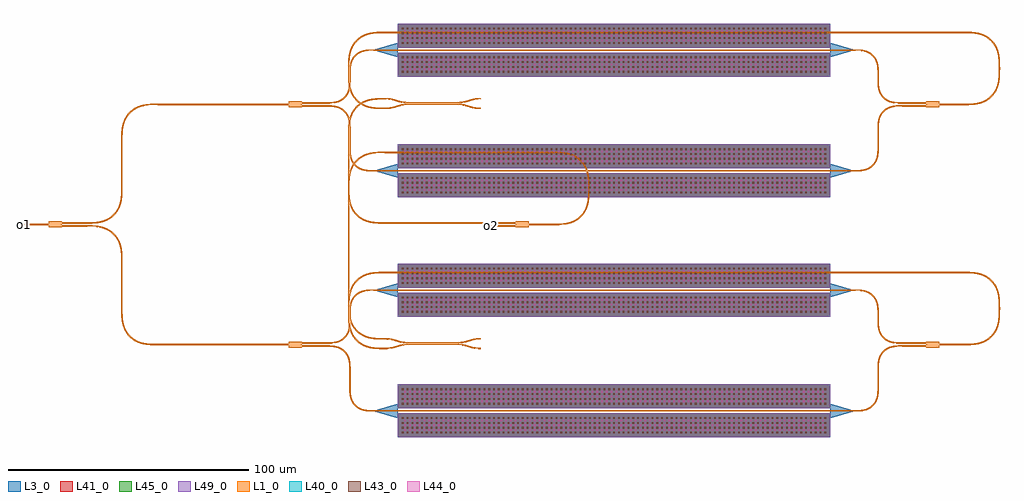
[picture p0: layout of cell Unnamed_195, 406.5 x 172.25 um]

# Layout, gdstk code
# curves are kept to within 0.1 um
from math import pi, radians
import gdstk
lib = gdstk.Library(unit=1e-6, precision=1e-09)
def R(c, l, rs):  # rectangles x0, y0, x1, y1
    for r in rs: c.add(gdstk.rectangle(r[:2], r[2:], *l))
def P(c, l, *ps):  # polygons
    for p in ps: c.add(gdstk.Polygon(p, *l))
L1_0 = (1, 0)
L3_0 = (3, 0)
L40_0 = (40, 0)
L41_0 = (41, 0)
L43_0 = (43, 0)
L44_0 = (44, 0)
L45_0 = (45, 0)
L49_0 = (49, 0)

mmi1x2_wnone_wt1_lt10_l_ = lib.new_cell('mmi1x2_WNone_WT1_LT10_L_4e0f7121')
P(mmi1x2_wnone_wt1_lt10_l_, L1_0, [(0,-1.25),(0,-0.5),(-10,-0.25),(-10,0.25),(0,0.5),(0,1.25),(5.5,1.25),(5.5,1.125),(15.5,0.875),(15.5,0.375),(5.5,0.125),(5.5,-0.125),(15.5,-0.375),(15.5,-0.875),(5.5,-1.125),(5.5,-1.25)])

bend_euler_rnone_a90_p0_ = lib.new_cell('bend_euler_RNone_A90_P0_d7c3a5a9')
P(bend_euler_rnone_a90_p0_, L1_0, [(0,-0.25),(0,0.25),(2.881,0.353),(3.952,0.52),(4.99,0.806),(6.431,1.505),(7.575,2.425),(8.495,3.569),(9.194,5.01),(9.48,6.048),(9.647,7.119),(9.75,10),(10.25,10),(10.158,7.205),(9.797,5.254),(9.457,4.312),(9.066,3.545),(8.5,2.715),(7.928,2.072),(7.285,1.5),(6.455,0.934),(5.688,0.543),(4.746,0.203),(2.795,-0.158)])

straight_l2_n2_csstrip_w = lib.new_cell('straight_L2_N2_CSstrip_WNone')
R(straight_l2_n2_csstrip_w, L1_0, [(0,-0.25,2,0.25)])

straight_l7_n2_csstrip_w = lib.new_cell('straight_L7_N2_CSstrip_WNone')
R(straight_l7_n2_csstrip_w, L1_0, [(0,-0.25,7,0.25)])

straight_l180_n2_csstrip = lib.new_cell('straight_L180_N2_CSstrip_WNone')
R(straight_l180_n2_csstrip, L1_0, [(0,-0.25,180,0.25)])

taper_strip_to_ridge_l1_ = lib.new_cell('taper_strip_to_ridge_L1_3a86af41')
R(taper_strip_to_ridge_l1_, L1_0, [(0,-0.25,10,0.25)])
P(taper_strip_to_ridge_l1_, L3_0, [(10,-3),(0,-0.075),(0,0.075),(10,3)])

compass_s180_10_lslab90_ = lib.new_cell('compass_S180_10_LSLAB90_05ffcaa3')
R(compass_s180_10_lslab90_, L3_0, [(-90,-5,90,5)])

compass_s180_10_lm1_ptn_ = lib.new_cell('compass_S180_10_LM1_PTN_a9660620')
R(compass_s180_10_lm1_ptn_, L41_0, [(-90,-5,90,5)])

compass_s180_10_lm2_ptn_ = lib.new_cell('compass_S180_10_LM2_PTN_655a0ab1')
R(compass_s180_10_lm2_ptn_, L45_0, [(-90,-5,90,5)])

compass_s180_10_lmtop_p_ = lib.new_cell('compass_S180_10_LMTOP_P_11bbb343')
R(compass_s180_10_lmtop_p_, L49_0, [(-90,-5,90,5)])

via_s0p7_0p7_snone_gnon_ = lib.new_cell('via_S0p7_0p7_SNone_GNon_9f66867f')
R(via_s0p7_0p7_snone_gnon_, L40_0, [(-0.35,-0.35,0.35,0.35)])

c_via_s0p7_0p7_snone_gnon_ = lib.new_cell('via_S0p7_0p7_SNone_GNon_d0c93b95')
R(c_via_s0p7_0p7_snone_gnon_, L44_0, [(-0.35,-0.35,0.35,0.35)])

c_via_s0p7_0p7_snone_gnon__ = lib.new_cell('via_S0p7_0p7_SNone_GNon_a794b952')
R(c_via_s0p7_0p7_snone_gnon__, L43_0, [(-0.35,-0.35,0.35,0.35)])

via_stack_s180_10_lslab_ = lib.new_cell('via_stack_S180_10_LSLAB_6f7f59c7')
via_stack_s180_10_lslab_.add(gdstk.Reference(compass_s180_10_lslab90_, (0,0)))
via_stack_s180_10_lslab_.add(gdstk.Reference(compass_s180_10_lm1_ptn_, (0,0)))
via_stack_s180_10_lslab_.add(gdstk.Reference(compass_s180_10_lm2_ptn_, (0,0)))
via_stack_s180_10_lslab_.add(gdstk.Reference(compass_s180_10_lmtop_p_, (0,0)))
r = gdstk.Reference(via_s0p7_0p7_snone_gnon_, (-88,-3)); r.repetition = gdstk.Repetition(89, 4, v1=(2,0), v2=(0,2)); via_stack_s180_10_lslab_.add(r)
r = gdstk.Reference(c_via_s0p7_0p7_snone_gnon_, (-87,-2)); r.repetition = gdstk.Repetition(88, 3, v1=(2,0), v2=(0,2)); via_stack_s180_10_lslab_.add(r)
r = gdstk.Reference(c_via_s0p7_0p7_snone_gnon__, (-88,-3)); r.repetition = gdstk.Repetition(89, 4, v1=(2,0), v2=(0,2)); via_stack_s180_10_lslab_.add(r)

straight_pin_l200_csstr_ = lib.new_cell('straight_pin_L200_CSstr_ff9b3a61')
straight_pin_l200_csstr_.add(gdstk.Reference(straight_l180_n2_csstrip, (0,0)))
straight_pin_l200_csstr_.add(gdstk.Reference(taper_strip_to_ridge_l1_, (-10,0)))
straight_pin_l200_csstr_.add(gdstk.Reference(taper_strip_to_ridge_l1_, (190,0), rotation=pi))
straight_pin_l200_csstr_.add(gdstk.Reference(via_stack_s180_10_lslab_, (90,6)))
straight_pin_l200_csstr_.add(gdstk.Reference(via_stack_s180_10_lslab_, (90,-6)))

mzi_dl10_ly2_lx200_bben_ = lib.new_cell('mzi_DL10_LY2_LX200_Bben_ff43f7ce')
mzi_dl10_ly2_lx200_bben_.add(gdstk.Reference(mmi1x2_wnone_wt1_lt10_l_, (0,0)))
mzi_dl10_ly2_lx200_bben_.add(gdstk.Reference(bend_euler_rnone_a90_p0_, (15.5,-0.625), x_reflection=True))
mzi_dl10_ly2_lx200_bben_.add(gdstk.Reference(bend_euler_rnone_a90_p0_, (25.5,-17.625), rotation=3*pi/2))
mzi_dl10_ly2_lx200_bben_.add(gdstk.Reference(bend_euler_rnone_a90_p0_, (15.5,0.625)))
mzi_dl10_ly2_lx200_bben_.add(gdstk.Reference(bend_euler_rnone_a90_p0_, (35.5,22.625), rotation=pi))
mzi_dl10_ly2_lx200_bben_.add(gdstk.Reference(bend_euler_rnone_a90_p0_, (245.5,12.625), rotation=pi/2))
mzi_dl10_ly2_lx200_bben_.add(gdstk.Reference(bend_euler_rnone_a90_p0_, (245.5,10.625), rotation=3*pi/2))
mzi_dl10_ly2_lx200_bben_.add(gdstk.Reference(bend_euler_rnone_a90_p0_, (235.5,-27.625)))
mzi_dl10_ly2_lx200_bben_.add(gdstk.Reference(bend_euler_rnone_a90_p0_, (255.5,-0.625), rotation=pi))
mzi_dl10_ly2_lx200_bben_.add(gdstk.Reference(straight_l2_n2_csstrip_w, (25.5,10.625), rotation=pi/2))
mzi_dl10_ly2_lx200_bben_.add(gdstk.Reference(straight_l7_n2_csstrip_w, (25.5,-10.625), rotation=3*pi/2))
mzi_dl10_ly2_lx200_bben_.add(gdstk.Reference(straight_pin_l200_csstr_, (45.5,22.625)))
mzi_dl10_ly2_lx200_bben_.add(gdstk.Reference(straight_pin_l200_csstr_, (45.5,-27.625)))
mzi_dl10_ly2_lx200_bben_.add(gdstk.Reference(mmi1x2_wnone_wt1_lt10_l_, (271,0), rotation=pi, x_reflection=True))
mzi_dl10_ly2_lx200_bben_.add(gdstk.Reference(straight_l2_n2_csstrip_w, (245.5,10.625), rotation=pi/2))
mzi_dl10_ly2_lx200_bben_.add(gdstk.Reference(straight_l7_n2_csstrip_w, (245.5,-17.625), rotation=pi/2))

coupler_g0p236_l20_d4_d_ = lib.new_cell('coupler_G0p236_L20_D4_D_b138340a')
P(coupler_g0p236_l20_d4_d_, L1_0, [(-10,-1.882),(-10,-1.382),(-8.633,-1.335),(-7.417,-1.193),(-6.249,-0.938),(-3.065,-0.019),(-1.652,0.182),(-0.303,0.248),(21.144,0.219),(23.349,-0.08),(27.222,-1.159),(28.511,-1.326),(30,-1.382),(30,-1.882),(27.877,-1.764),(26.291,-1.466),(23.059,-0.528),(20.854,-0.267),(-0.297,-0.252),(-1.725,-0.327),(-3.059,-0.528),(-6.034,-1.397),(-7.335,-1.686),(-8.597,-1.834)],
  [(0,0.486),(-1.403,0.534),(-2.665,0.682),(-3.796,0.925),(-7.126,1.877),(-8.511,2.062),(-10,2.118),(-10,2.618),(-8.597,2.57),(-7.335,2.422),(-6.204,2.179),(-2.874,1.227),(-1.489,1.042),(0,0.986),(21.116,1.016),(23.24,1.303),(27.032,2.368),(28.348,2.55),(30,2.618),(30,2.118),(28.511,2.062),(27.222,1.895),(26.086,1.629),(23.532,0.858),(21.403,0.534)])

bend_euler_r15_a90_p0p5_ = lib.new_cell('bend_euler_R15_A90_P0p5_14998747')
P(bend_euler_r15_a90_p0p5_, L1_0, [(0,-0.25),(0,0.25),(2.31,0.273),(4.332,0.406),(5.924,0.652),(7.346,1.03),(8.467,1.471),(9.541,2.045),(10.54,2.741),(11.45,3.55),(12.259,4.46),(12.955,5.459),(13.529,6.533),(13.97,7.654),(14.348,9.076),(14.594,10.668),(14.727,12.69),(14.75,15),(15.25,15),(15.222,12.537),(15.106,10.752),(14.891,9.246),(14.569,7.896),(14.099,6.583),(13.527,5.441),(12.739,4.262),(11.804,3.196),(10.738,2.261),(9.559,1.473),(8.417,0.901),(7.104,0.431),(5.754,0.109),(4.248,-0.106),(2.463,-0.222)])

straight_l19p375_n2_css_ = lib.new_cell('straight_L19p375_N2_CSs_3cf19edc')
R(straight_l19p375_n2_css_, L1_0, [(0,-0.25,19.375,0.25)])

straight_l44p5_n2_csstri = lib.new_cell('straight_L44p5_N2_CSstrip_WNone')
R(straight_l44p5_n2_csstri, L1_0, [(0,-0.25,44.5,0.25)])

straight_l241_n2_csstrip = lib.new_cell('straight_L241_N2_CSstrip_WNone')
R(straight_l241_n2_csstrip, L1_0, [(0,-0.25,241,0.25)])

straight_l1p63200000000_ = lib.new_cell('straight_L1p63200000000_0f143cfc')
R(straight_l1p63200000000_, L1_0, [(0,-0.25,1.632,0.25)])

straight_l21p7430000000_ = lib.new_cell('straight_L21p7430000000_d01ab3da')
R(straight_l21p7430000000_, L1_0, [(0,-0.25,21.743,0.25)])

straight_l47p632_n2_css_ = lib.new_cell('straight_L47p632_N2_CSs_511f9b3d')
R(straight_l47p632_n2_css_, L1_0, [(0,-0.25,47.632,0.25)])

straight_l70_n2_csstrip_ = lib.new_cell('straight_L70_N2_CSstrip_WNone')
R(straight_l70_n2_csstrip_, L1_0, [(0,-0.25,70,0.25)])

unnamed_195 = lib.new_cell('Unnamed_195')
P(unnamed_195, L1_0, [(-10,-0.25),(-10.25,0),(-10.062,0.188),(-10.025,0.188),(-10.215,0),(-10.025,0),(-10.025,0.188),(-10.062,0.188),(-10,0.25)],
  [(184.5,-0.875),(184.25,-0.625),(184.438,-0.437),(184.475,-0.437),(184.285,-0.625),(184.475,-0.625),(184.475,-0.437),(184.438,-0.437),(184.5,-0.375)])
unnamed_195.add(gdstk.Reference(mmi1x2_wnone_wt1_lt10_l_, (0,0)))
unnamed_195.add(gdstk.Reference(mzi_dl10_ly2_lx200_bben_, (100,50)))
unnamed_195.add(gdstk.Reference(mzi_dl10_ly2_lx200_bben_, (100,-50)))
unnamed_195.add(gdstk.Reference(coupler_g0p236_l20_d4_d_, (150,50)))
unnamed_195.add(gdstk.Reference(coupler_g0p236_l20_d4_d_, (150,-50)))
unnamed_195.add(gdstk.Reference(mmi1x2_wnone_wt1_lt10_l_, (200,0), rotation=pi, x_reflection=True))
unnamed_195.add(gdstk.Reference(bend_euler_r15_a90_p0p5_, (30.5,15.625), rotation=3*pi/2, x_reflection=True))
unnamed_195.add(gdstk.Reference(bend_euler_r15_a90_p0p5_, (45.5,50), rotation=pi))
unnamed_195.add(gdstk.Reference(straight_l19p375_n2_css_, (30.5,35), rotation=3*pi/2))
unnamed_195.add(gdstk.Reference(straight_l44p5_n2_csstri, (45.5,50)))
unnamed_195.add(gdstk.Reference(bend_euler_r15_a90_p0p5_, (30.5,-15.625), rotation=pi/2))
unnamed_195.add(gdstk.Reference(bend_euler_r15_a90_p0p5_, (45.5,-50), rotation=pi, x_reflection=True))
unnamed_195.add(gdstk.Reference(straight_l19p375_n2_css_, (30.5,-35), rotation=pi/2))
unnamed_195.add(gdstk.Reference(straight_l44p5_n2_csstri, (45.5,-50)))
unnamed_195.add(gdstk.Reference(bend_euler_r15_a90_p0p5_, (396,65), rotation=3*pi/2, x_reflection=True))
unnamed_195.add(gdstk.Reference(bend_euler_r15_a90_p0p5_, (381,80), x_reflection=True))
unnamed_195.add(gdstk.Reference(bend_euler_r15_a90_p0p5_, (125,65), rotation=pi/2, x_reflection=True))
unnamed_195.add(gdstk.Reference(straight_l241_n2_csstrip, (140,80)))
unnamed_195.add(gdstk.Reference(bend_euler_r15_a90_p0p5_, (140,48.368), rotation=pi, x_reflection=True))
unnamed_195.add(gdstk.Reference(straight_l1p63200000000_, (125,63.368), rotation=pi/2))
unnamed_195.add(gdstk.Reference(bend_euler_r15_a90_p0p5_, (396,-35), rotation=3*pi/2, x_reflection=True))
unnamed_195.add(gdstk.Reference(bend_euler_r15_a90_p0p5_, (381,-20), x_reflection=True))
unnamed_195.add(gdstk.Reference(bend_euler_r15_a90_p0p5_, (125,-35), rotation=pi/2, x_reflection=True))
unnamed_195.add(gdstk.Reference(straight_l241_n2_csstrip, (140,-20)))
unnamed_195.add(gdstk.Reference(bend_euler_r15_a90_p0p5_, (140,-51.632), rotation=pi, x_reflection=True))
unnamed_195.add(gdstk.Reference(straight_l1p63200000000_, (125,-36.632), rotation=pi/2))
unnamed_195.add(gdstk.Reference(bend_euler_r15_a90_p0p5_, (125,37.368), rotation=pi/2, x_reflection=True))
unnamed_195.add(gdstk.Reference(bend_euler_r15_a90_p0p5_, (140,0.625), rotation=pi, x_reflection=True))
unnamed_195.add(gdstk.Reference(straight_l21p7430000000_, (125,15.625), rotation=pi/2))
unnamed_195.add(gdstk.Reference(straight_l44p5_n2_csstri, (140,0.625)))
unnamed_195.add(gdstk.Reference(bend_euler_r15_a90_p0p5_, (125,-32.632), rotation=3*pi/2))
unnamed_195.add(gdstk.Reference(bend_euler_r15_a90_p0p5_, (140,30), rotation=pi))
unnamed_195.add(gdstk.Reference(straight_l47p632_n2_css_, (125,15), rotation=3*pi/2))
unnamed_195.add(gdstk.Reference(bend_euler_r15_a90_p0p5_, (225,15), rotation=pi/2))
unnamed_195.add(gdstk.Reference(straight_l70_n2_csstrip_, (210,30), rotation=pi))
unnamed_195.add(gdstk.Reference(bend_euler_r15_a90_p0p5_, (210,0)))
unnamed_195.add(gdstk.Label('o1', (-10,0), layer=1, texttype=0))
unnamed_195.add(gdstk.Label('o2', (184.5,-0.625), layer=1, texttype=0))

lib.write_gds('Unnamed_195.gds')
